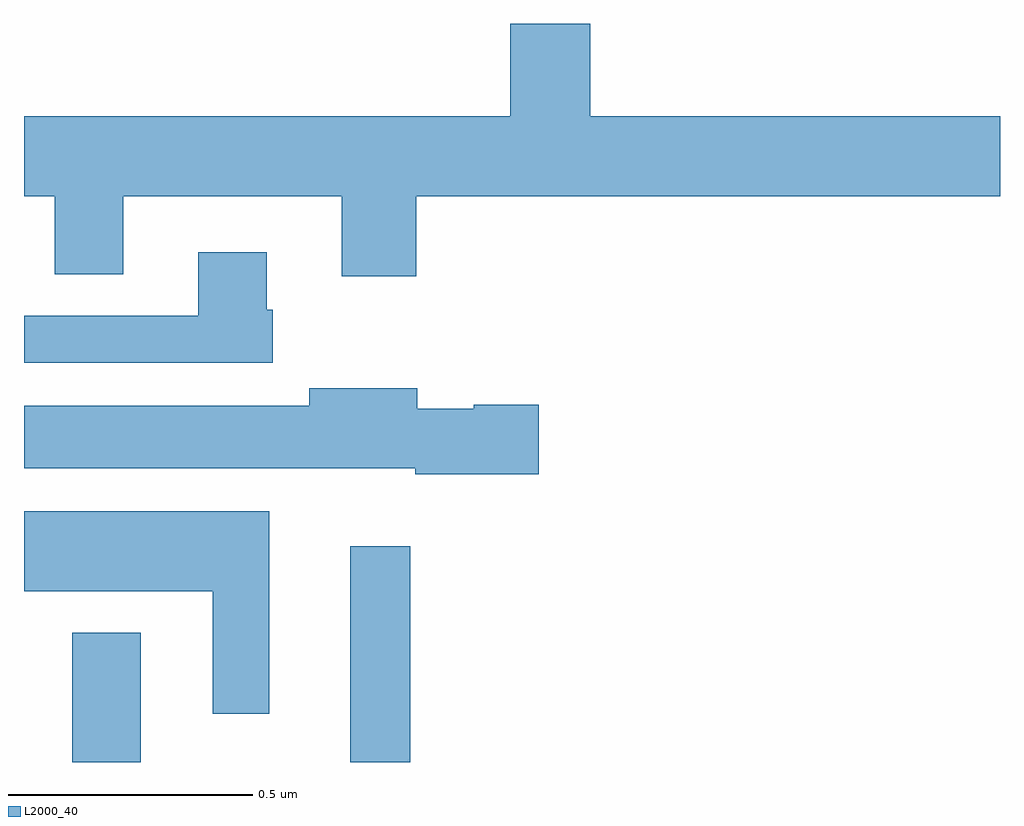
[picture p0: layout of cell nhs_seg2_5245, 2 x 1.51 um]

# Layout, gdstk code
import gdstk
lib = gdstk.Library(unit=1e-6, precision=1e-09)
def R(c, l, rs):  # rectangles x0, y0, x1, y1
    for r in rs: c.add(gdstk.rectangle(r[:2], r[2:], *l))
def P(c, l, *ps):  # polygons
    for p in ps: c.add(gdstk.Polygon(p, *l))
L2000_40 = (2000, 40)

nhs_seg2_5245 = lib.new_cell('nhs_seg2_5245')
R(nhs_seg2_5245, L2000_40, [(176.099,655.8,176.239,656.065), (176.669,655.8,176.791,656.242)])
P(nhs_seg2_5245, L2000_40, [(176.804,656.96),(178,656.96),(178,657.124),(177.16,657.124),(177.16,657.313),(176.996,657.313),(176.996,657.124),(176,657.124),(176,656.96),(176.063,656.96),(176.063,656.8),(176.203,656.8),(176.203,656.96),(176.651,656.96),(176.651,656.796),(176.804,656.796)],
  [(176.51,656.727),(176.497,656.727),(176.497,656.845),(176.357,656.845),(176.357,656.715),(176,656.715),(176,656.619),(176.51,656.619)],
  [(177.055,656.532),(176.922,656.532),(176.922,656.524),(176.806,656.524),(176.806,656.566),(176.585,656.566),(176.585,656.53),(176,656.53),(176,656.402),(176.802,656.402),(176.802,656.39),(177.055,656.39)],
  [(176.503,656.314),(176,656.314),(176,656.15),(176.387,656.15),(176.387,655.899),(176.503,655.899)])

lib.write_gds('nhs_seg2_5245.gds')
